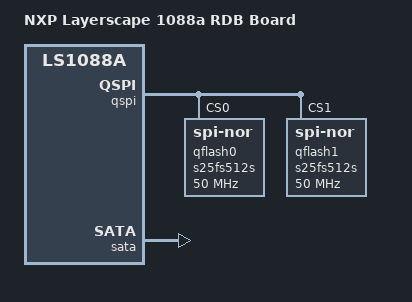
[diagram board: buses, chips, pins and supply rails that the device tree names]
// SPDX-License-Identifier: GPL-2.0+ OR X11
/*
 * NXP ls1088a RDB board device tree source
 *
 * Copyright 2017 NXP
 */

/dts-v1/;

#include "fsl-ls1088a.dtsi"

/ {
	model = "NXP Layerscape 1088a RDB Board";
	compatible = "fsl,ls1088a-rdb", "fsl,ls1088a";
	aliases {
		spi0 = &qspi;
	};
};

&qspi {
	bus-num = <0>;
	status = "okay";

	qflash0: s25fs512s@0 {
		#address-cells = <1>;
		#size-cells = <1>;
		compatible = "jedec,spi-nor";
		spi-max-frequency = <50000000>;
		reg = <0>;
	};

	qflash1: s25fs512s@1 {
		#address-cells = <1>;
		#size-cells = <1>;
		compatible = "jedec,spi-nor";
		spi-max-frequency = <50000000>;
		reg = <1>;
	 };
};

&sata {
	status = "okay";
};
